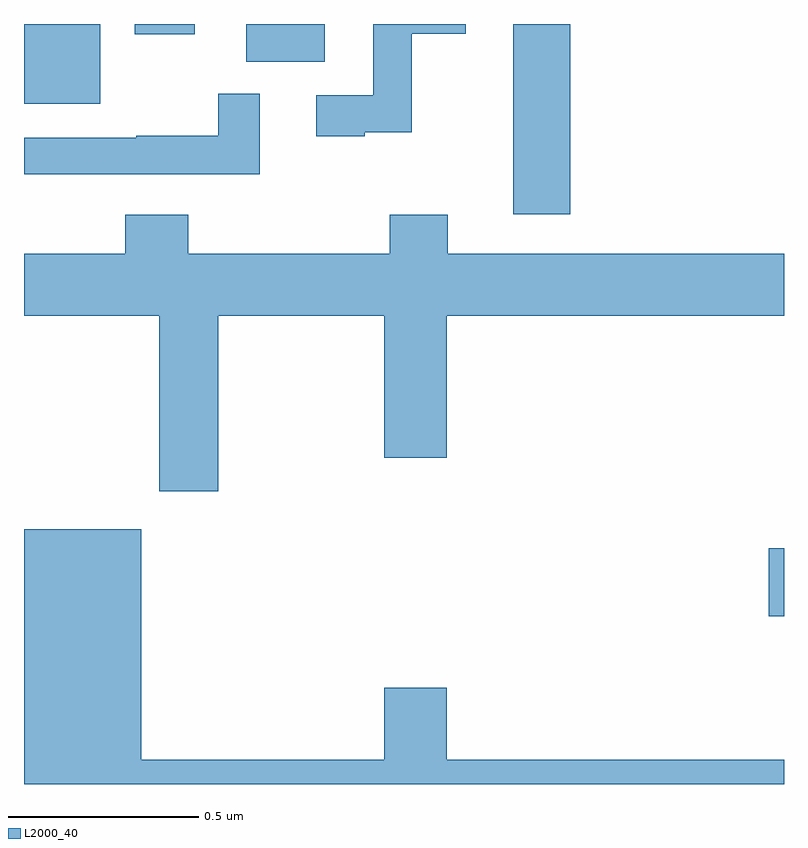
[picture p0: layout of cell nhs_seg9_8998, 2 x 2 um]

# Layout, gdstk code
import gdstk
lib = gdstk.Library(unit=1e-6, precision=1e-09)
def R(c, l, rs):  # rectangles x0, y0, x1, y1
    for r in rs: c.add(gdstk.rectangle(r[:2], r[2:], *l))
def P(c, l, *ps):  # polygons
    for p in ps: c.add(gdstk.Polygon(p, *l))
L2000_40 = (2000, 40)

nhs_seg9_8998 = lib.new_cell('nhs_seg9_8998')
R(nhs_seg9_8998, L2000_40, [(225.96,1216.942,226,1217.12), (225.287,1218,225.437,1218.5), (224,1218.29,224.2,1218.5), (224.585,1218.401,224.791,1218.5), (224.291,1218.473,224.449,1218.5)])
P(nhs_seg9_8998, L2000_40, [(224.897,1218.215),(225.02,1218.215),(225.02,1218.475),(225.163,1218.475),(225.163,1218.5),(224.919,1218.5),(224.919,1218.312),(224.769,1218.312),(224.769,1218.204),(224.897,1218.204)],
  [(224.62,1218.316),(224.511,1218.316),(224.511,1218.206),(224.296,1218.206),(224.296,1218.201),(224,1218.201),(224,1218.105),(224.62,1218.105)],
  [(224.267,1217.998),(224.267,1217.896),(224,1217.896),(224,1217.732),(224.356,1217.732),(224.356,1217.271),(224.511,1217.271),(224.511,1217.732),(224.948,1217.732),(224.948,1217.358),(225.112,1217.358),(225.112,1217.732),(226,1217.732),(226,1217.896),(225.115,1217.896),(225.115,1217.998),(224.963,1217.998),(224.963,1217.896),(224.432,1217.896),(224.432,1217.998)],
  [(226,1216.564),(225.112,1216.564),(225.112,1216.753),(224.948,1216.753),(224.948,1216.564),(224.308,1216.564),(224.308,1217.17),(224,1217.17),(224,1216.5),(226,1216.5)])

lib.write_gds('nhs_seg9_8998.gds')
